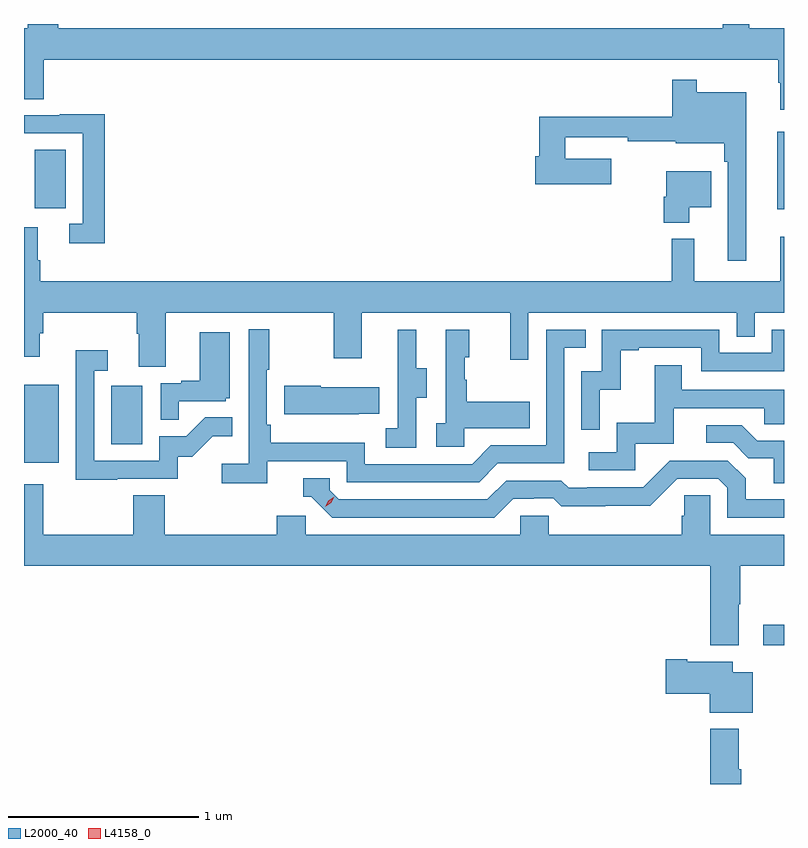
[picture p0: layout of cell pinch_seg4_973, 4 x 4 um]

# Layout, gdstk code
import gdstk
lib = gdstk.Library(unit=1e-6, precision=1e-09)
def R(c, l, rs):  # rectangles x0, y0, x1, y1
    for r in rs: c.add(gdstk.rectangle(r[:2], r[2:], *l))
def P(c, l, *ps):  # polygons
    for p in ps: c.add(gdstk.Polygon(p, *l))
L2000_40 = (2000, 40)
L4158_0 = (4158, 0)

pinch_seg4_973 = lib.new_cell('pinch_seg4_973')
R(pinch_seg4_973, L2000_40, [(891.363,777.752,891.472,777.862), (887.472,778.715,887.656,779.125), (887.93,778.812,888.094,779.119), (891.437,780.047,891.472,780.457), (887.528,780.054,887.692,780.361)])
P(pinch_seg4_973, L2000_40, [(891.472,781),(891.289,781),(891.289,781.023),(891.149,781.023),(891.149,781),(887.651,781),(887.651,781.023),(887.491,781.023),(887.491,781),(887.472,781),(887.472,780.628),(887.576,780.628),(887.576,780.836),(891.441,780.836),(891.441,780.713),(891.452,780.713),(891.452,780.573),(891.472,780.573)],
  [(891.274,780.664),(891.013,780.664),(891.013,780.73),(890.884,780.73),(890.884,780.535),(890.185,780.535),(890.185,780.326),(890.162,780.326),(890.162,780.179),(890.563,780.179),(890.563,780.313),(890.321,780.313),(890.321,780.426),(890.65,780.426),(890.65,780.406),(890.903,780.406),(890.903,780.395),(891.157,780.395),(891.157,780.299),(891.177,780.299),(891.177,779.778),(891.274,779.778)],
  [(887.897,780.548),(887.659,780.548),(887.659,780.543),(887.472,780.543),(887.472,780.447),(887.781,780.447),(887.781,779.973),(887.709,779.973),(887.709,779.868),(887.897,779.868)],
  [(890.974,780.059),(891.088,780.059),(891.088,780.247),(890.852,780.247),(890.852,780.114),(890.84,780.114),(890.84,779.978),(890.974,779.978)],
  [(888.217,779.504),(889.102,779.504),(889.102,779.265),(889.249,779.265),(889.249,779.504),(890.03,779.504),(890.03,779.256),(890.127,779.256),(890.127,779.504),(891.222,779.504),(891.222,779.377),(891.318,779.377),(891.318,779.504),(891.472,779.504),(891.472,779.902),(891.452,779.902),(891.452,779.668),(890.999,779.668),(890.999,779.893),(890.881,779.893),(890.881,779.668),(887.558,779.668),(887.558,779.78),(887.545,779.78),(887.545,779.954),(887.472,779.954),(887.472,779.271),(887.555,779.271),(887.555,779.396),(887.573,779.396),(887.573,779.504),(888.065,779.504),(888.065,779.392),(888.077,779.392),(888.077,779.218),(888.217,779.218)],
  [(888.752,778.722),(889.17,778.722),(889.17,778.611),(889.867,778.611),(889.966,778.71),(890.316,778.71),(890.316,779.319),(890.429,779.319),(890.429,779.415),(890.22,779.415),(890.22,778.806),(889.929,778.806),(889.83,778.707),(889.266,778.707),(889.266,778.819),(888.77,778.819),(888.77,778.915),(888.75,778.915),(888.75,779.203),(888.763,779.203),(888.763,779.416),(888.654,779.416),(888.654,778.708),(888.513,778.708),(888.513,778.606),(888.752,778.606)],
  [(890.502,779.099),(890.612,779.099),(890.612,779.307),(890.707,779.307),(890.707,779.319),(891.036,779.319),(891.036,779.196),(891.472,779.196),(891.472,779.415),(891.408,779.415),(891.408,779.292),(891.132,779.292),(891.132,779.415),(890.514,779.415),(890.514,779.196),(890.406,779.196),(890.406,778.887),(890.502,778.887)],
  [(889.788,778.895),(890.135,778.895),(890.135,779.035),(889.801,779.035),(889.801,779.15),(889.791,779.15),(889.791,779.268),(889.816,779.268),(889.816,779.413),(889.692,779.413),(889.692,778.922),(889.641,778.922),(889.641,778.797),(889.788,778.797)],
  [(889.536,779.056),(889.591,779.056),(889.591,779.211),(889.537,779.211),(889.537,779.413),(889.439,779.413),(889.439,779.199),(889.44,779.199),(889.44,778.895),(889.377,778.895),(889.377,778.792),(889.536,778.792)],
  [(888.287,779.037),(888.534,779.037),(888.534,779.052),(888.556,779.052),(888.556,779.401),(888.398,779.401),(888.398,779.146),(888.299,779.146),(888.299,779.133),(888.192,779.133),(888.192,778.939),(888.287,778.939)],
  [(887.963,778.629),(888.282,778.629),(888.282,778.746),(888.358,778.746),(888.465,778.853),(888.569,778.853),(888.569,778.952),(888.425,778.952),(888.327,778.854),(888.183,778.854),(888.183,778.725),(887.841,778.725),(887.841,779.199),(887.914,779.199),(887.914,779.305),(887.745,779.305),(887.745,778.624),(887.963,778.624)],
  [(890.688,778.815),(890.893,778.815),(890.893,779.001),(891.367,779.001),(891.367,778.917),(891.472,778.917),(891.472,779.097),(890.935,779.097),(890.935,779.227),(890.791,779.227),(890.791,778.924),(890.592,778.924),(890.592,778.77),(890.445,778.77),(890.445,778.674),(890.688,778.674)],
  [(889.235,778.973),(889.343,778.973),(889.343,779.11),(889.033,779.11),(889.033,779.118),(888.842,779.118),(888.842,778.97),(889.235,778.97)],
  [(891.472,778.83),(891.331,778.83),(891.25,778.911),(891.063,778.911),(891.063,778.818),(891.204,778.818),(891.284,778.738),(891.419,778.738),(891.419,778.606),(891.472,778.606)],
  [(890.047,778.524),(890.154,778.524),(890.154,778.527),(890.257,778.527),(890.299,778.485),(890.532,778.485),(890.532,778.487),(890.768,778.487),(890.91,778.629),(891.126,778.629),(891.174,778.581),(891.174,778.425),(891.472,778.425),(891.472,778.521),(891.271,778.521),(891.271,778.631),(891.177,778.725),(890.871,778.725),(890.73,778.584),(890.437,778.584),(890.437,778.581),(890.338,778.581),(890.299,778.62),(890.01,778.62),(889.911,778.521),(889.128,778.521),(889.08,778.569),(889.08,778.632),(888.941,778.632),(888.941,778.536),(888.984,778.536),(889.095,778.425),(889.948,778.425)],
  [(891.235,777.968),(891.243,777.968),(891.243,778.172),(891.472,778.172),(891.472,778.336),(891.084,778.336),(891.084,778.544),(890.947,778.544),(890.947,778.434),(890.933,778.434),(890.933,778.336),(890.235,778.336),(890.235,778.434),(890.085,778.434),(890.085,778.336),(888.954,778.336),(888.954,778.434),(888.803,778.434),(888.803,778.336),(888.212,778.336),(888.212,778.544),(888.047,778.544),(888.047,778.336),(887.573,778.336),(887.573,778.6),(887.472,778.6),(887.472,778.172),(891.083,778.172),(891.083,777.752),(891.235,777.752)],
  [(891.307,777.61),(891.202,777.61),(891.202,777.667),(890.962,777.667),(890.962,777.68),(890.85,777.68),(890.85,777.497),(891.08,777.497),(891.08,777.398),(891.307,777.398)],
  [(891.248,777.1),(891.235,777.1),(891.235,777.313),(891.083,777.313),(891.083,777.023),(891.248,777.023)])
P(pinch_seg4_973, L4158_0, [(889.058,778.482),(889.058,778.482),(889.074,778.515),(889.104,778.534),(889.104,778.534),(889.104,778.534),(889.089,778.502),(889.058,778.482)])

lib.write_gds('pinch_seg4_973.gds')
